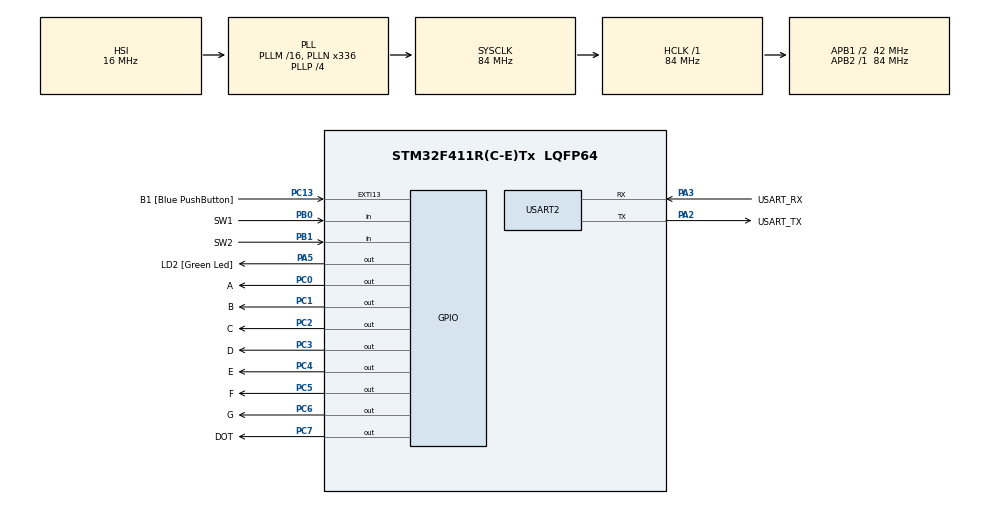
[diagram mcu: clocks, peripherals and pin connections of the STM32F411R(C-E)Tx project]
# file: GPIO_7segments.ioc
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Mcu.Family=STM32F4
Mcu.Name=STM32F411R(C-E)Tx
Mcu.Package=LQFP64
NVIC.PriorityGroup=NVIC_PRIORITYGROUP_0
PA13.GPIO_Label=TMS
PA13.Mode=Serial_Wire
PA13.Signal=SYS_JTMS-SWDIO
PA14.GPIO_Label=TCK
PA14.Mode=Serial_Wire
PA14.Signal=SYS_JTCK-SWCLK
PA2.GPIO_Label=USART_TX
PA2.Mode=Asynchronous
PA2.Signal=USART2_TX
PA3.GPIO_Label=USART_RX
PA3.Mode=Asynchronous
PA3.Signal=USART2_RX
PA5.GPIO_Label=LD2 [Green Led]
PA5.Signal=GPIO_Output
PB0.GPIO_Label=SW1
PB0.Signal=GPIO_Input
PB1.GPIO_Label=SW2
PB1.Signal=GPIO_Input
PB3.GPIO_Label=SWO
PB3.Signal=SYS_JTDO-SWO
PC0.GPIO_Label=A
PC0.Signal=GPIO_Output
PC1.GPIO_Label=B
PC1.Signal=GPIO_Output
PC13-ANTI_TAMP.GPIO_Label=B1 [Blue PushButton]
PC13-ANTI_TAMP.GPIO_ModeDefaultEXTI=GPIO_MODE_IT_FALLING
PC13-ANTI_TAMP.Signal=GPXTI13
PC14-OSC32_IN.Mode=LSE-External-Oscillator
PC14-OSC32_IN.Signal=RCC_OSC32_IN
PC15-OSC32_OUT.Mode=LSE-External-Oscillator
PC15-OSC32_OUT.Signal=RCC_OSC32_OUT
PC2.GPIO_Label=C
PC2.Signal=GPIO_Output
PC3.GPIO_Label=D
PC3.Signal=GPIO_Output
PC4.GPIO_Label=E
PC4.Signal=GPIO_Output
PC5.GPIO_Label=F
PC5.Signal=GPIO_Output
PC6.GPIO_Label=G
PC6.Signal=GPIO_Output
PC7.GPIO_Label=DOT
PC7.Signal=GPIO_Output
PH0\ -\ OSC_IN.Mode=HSE-External-Clock-Source
PH0\ -\ OSC_IN.Signal=RCC_OSC_IN
PH1\ -\ OSC_OUT.Mode=HSE-External-Clock-Source
PH1\ -\ OSC_OUT.Signal=RCC_OSC_OUT
ProjectManager.HeapSize=0x200
ProjectManager.StackSize=0x400
ProjectManager.TargetToolchain=STM32CubeIDE
RCC.48MHZClocksFreq_Value=84000000
RCC.AHBFreq_Value=84000000
RCC.APB1CLKDivider=RCC_HCLK_DIV2
RCC.APB1Freq_Value=42000000
RCC.APB1TimFreq_Value=84000000
RCC.APB2Freq_Value=84000000
RCC.APB2TimFreq_Value=84000000
RCC.CortexFreq_Value=84000000
RCC.FLatency-AdvancedSettings=FLASH_LATENCY_2
RCC.HCLKFreq_Value=84000000
RCC.HSE_VALUE=8000000
RCC.HSI_VALUE=16000000
RCC.PLLN=336
RCC.PLLP=RCC_PLLP_DIV4
RCC.SYSCLKFreq_VALUE=84000000
RCC.SYSCLKSource=RCC_SYSCLKSOURCE_PLLCLK
RCC.VCOOutputFreq_Value=336000000
USART2.VirtualMode=VM_ASYNC
board=NUCLEO-F411RE

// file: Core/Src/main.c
/* USER CODE BEGIN Header */
/**
  ******************************************************************************
  * @file           : main.c
  * @brief          : Main program body
  ******************************************************************************
  * @attention
  *
  * Copyright (c) 2025 STMicroelectronics.
  * All rights reserved.
  *
  * This software is licensed under terms that can be found in the LICENSE file
  * in the root directory of this software component.
  * If no LICENSE file comes with this software, it is provided AS-IS.
  *
  ******************************************************************************
  */
/* USER CODE END Header */
#include "main.h"

UART_HandleTypeDef huart2;

void SystemClock_Config(void);
static void MX_GPIO_Init(void);
static void MX_USART2_UART_Init(void);

int main(void)
{

  /* MCU Configuration--------------------------------------------------------*/

  /* Reset of all peripherals, Initializes the Flash interface and the Systick. */
  HAL_Init();

  /* Configure the system clock */
  SystemClock_Config();

  /* Initialize all configured peripherals */
  MX_GPIO_Init();
  MX_USART2_UART_Init();

  /* Infinite loop */
  /* USER CODE BEGIN WHILE */
  while (1)
  {
	  //0 Display
	  HAL_GPIO_WritePin(GPIOC, A_Pin | B_Pin | C_Pin | D_Pin | E_Pin | F_Pin | G_Pin | DOT_Pin, GPIO_PIN_RESET);
	  HAL_GPIO_WritePin(GPIOC, A_Pin | B_Pin | C_Pin | D_Pin | E_Pin | F_Pin, GPIO_PIN_SET);
	  HAL_Delay(1000);
	  //1 Display
	  HAL_GPIO_WritePin(GPIOC, A_Pin | B_Pin | C_Pin | D_Pin | E_Pin | F_Pin | G_Pin | DOT_Pin, GPIO_PIN_RESET);
	  HAL_GPIO_WritePin(GPIOC, B_Pin | C_Pin, GPIO_PIN_SET);
	  HAL_Delay(1000);
	  //2 Display
	  HAL_GPIO_WritePin(GPIOC, A_Pin | B_Pin | C_Pin | D_Pin | E_Pin | F_Pin | G_Pin | DOT_Pin, GPIO_PIN_RESET);
	  HAL_GPIO_WritePin(GPIOC, A_Pin | B_Pin | D_Pin | E_Pin | G_Pin, GPIO_PIN_SET);
	  HAL_Delay(1000);
	  //3 Display
	  HAL_GPIO_WritePin(GPIOC, A_Pin | B_Pin | C_Pin | D_Pin | E_Pin | F_Pin | G_Pin | DOT_Pin, GPIO_PIN_RESET);
	  HAL_GPIO_WritePin(GPIOC, A_Pin | B_Pin | C_Pin | D_Pin | G_Pin, GPIO_PIN_SET);
	  HAL_Delay(1000);
	  //4 Display
	  HAL_GPIO_WritePin(GPIOC, A_Pin | B_Pin | C_Pin | D_Pin | E_Pin | F_Pin | G_Pin | DOT_Pin, GPIO_PIN_RESET);
	  HAL_GPIO_WritePin(GPIOC, B_Pin | C_Pin | F_Pin | G_Pin, GPIO_PIN_SET);
	  HAL_Delay(1000);
	  //5 Display
	  HAL_GPIO_WritePin(GPIOC, A_Pin | B_Pin | C_Pin | D_Pin | E_Pin | F_Pin | G_Pin | DOT_Pin, GPIO_PIN_RESET);
	  HAL_GPIO_WritePin(GPIOC, A_Pin | C_Pin | D_Pin | F_Pin | G_Pin, GPIO_PIN_SET);
	  HAL_Delay(1000);
	  //6 Display
	  HAL_GPIO_WritePin(GPIOC, A_Pin | B_Pin | C_Pin | D_Pin | E_Pin | F_Pin | G_Pin | DOT_Pin, GPIO_PIN_RESET);
	  HAL_GPIO_WritePin(GPIOC, A_Pin | C_Pin | D_Pin | E_Pin | F_Pin | G_Pin, GPIO_PIN_SET);
	  HAL_Delay(1000);
	  //7 Display
	  HAL_GPIO_WritePin(GPIOC, A_Pin | B_Pin | C_Pin | D_Pin | E_Pin | F_Pin | G_Pin | DOT_Pin, GPIO_PIN_RESET);
	  HAL_GPIO_WritePin(GPIOC, A_Pin | B_Pin | C_Pin, GPIO_PIN_SET);
	  HAL_Delay(1000);
	  //8 Display
	  HAL_GPIO_WritePin(GPIOC, A_Pin | B_Pin | C_Pin | D_Pin | E_Pin | F_Pin | G_Pin | DOT_Pin, GPIO_PIN_RESET);
	  HAL_GPIO_WritePin(GPIOC, A_Pin | B_Pin | C_Pin | D_Pin | E_Pin | F_Pin | G_Pin, GPIO_PIN_SET);
	  HAL_Delay(1000);
	  //9 Display
	  HAL_GPIO_WritePin(GPIOC, A_Pin | B_Pin | C_Pin | D_Pin | E_Pin | F_Pin | G_Pin | DOT_Pin, GPIO_PIN_RESET);
	  HAL_GPIO_WritePin(GPIOC, A_Pin | B_Pin | C_Pin | F_Pin | G_Pin, GPIO_PIN_SET);
	  HAL_Delay(1000);
    /* USER CODE END WHILE */

  }
}

void SystemClock_Config(void)
{
  RCC_OscInitTypeDef RCC_OscInitStruct = {0};
  RCC_ClkInitTypeDef RCC_ClkInitStruct = {0};

  /** Configure the main internal regulator output voltage
  */
  __HAL_RCC_PWR_CLK_ENABLE();
  __HAL_PWR_VOLTAGESCALING_CONFIG(PWR_REGULATOR_VOLTAGE_SCALE1);

  /** Initializes the RCC Oscillators according to the specified parameters
  * in the RCC_OscInitTypeDef structure.
  */
  RCC_OscInitStruct.OscillatorType = RCC_OSCILLATORTYPE_HSI;
  RCC_OscInitStruct.HSIState = RCC_HSI_ON;
  RCC_OscInitStruct.HSICalibrationValue = RCC_HSICALIBRATION_DEFAULT;
  RCC_OscInitStruct.PLL.PLLState = RCC_PLL_ON;
  RCC_OscInitStruct.PLL.PLLSource = RCC_PLLSOURCE_HSI;
  RCC_OscInitStruct.PLL.PLLM = 16;
  RCC_OscInitStruct.PLL.PLLN = 336;
  RCC_OscInitStruct.PLL.PLLP = RCC_PLLP_DIV4;
  RCC_OscInitStruct.PLL.PLLQ = 4;
  if (HAL_RCC_OscConfig(&RCC_OscInitStruct) != HAL_OK)
  {
    Error_Handler();
  }

  /** Initializes the CPU, AHB and APB buses clocks
  */
  RCC_ClkInitStruct.ClockType = RCC_CLOCKTYPE_HCLK|RCC_CLOCKTYPE_SYSCLK
                              |RCC_CLOCKTYPE_PCLK1|RCC_CLOCKTYPE_PCLK2;
  RCC_ClkInitStruct.SYSCLKSource = RCC_SYSCLKSOURCE_PLLCLK;
  RCC_ClkInitStruct.AHBCLKDivider = RCC_SYSCLK_DIV1;
  RCC_ClkInitStruct.APB1CLKDivider = RCC_HCLK_DIV2;
  RCC_ClkInitStruct.APB2CLKDivider = RCC_HCLK_DIV1;

  if (HAL_RCC_ClockConfig(&RCC_ClkInitStruct, FLASH_LATENCY_2) != HAL_OK)
  {
    Error_Handler();
  }
}

static void MX_USART2_UART_Init(void)
{

  huart2.Instance = USART2;
  huart2.Init.BaudRate = 115200;
  huart2.Init.WordLength = UART_WORDLENGTH_8B;
  huart2.Init.StopBits = UART_STOPBITS_1;
  huart2.Init.Parity = UART_PARITY_NONE;
  huart2.Init.Mode = UART_MODE_TX_RX;
  huart2.Init.HwFlowCtl = UART_HWCONTROL_NONE;
  huart2.Init.OverSampling = UART_OVERSAMPLING_16;
  if (HAL_UART_Init(&huart2) != HAL_OK)
  {
    Error_Handler();
  }

}

static void MX_GPIO_Init(void)
{
  GPIO_InitTypeDef GPIO_InitStruct = {0};

  /* GPIO Ports Clock Enable */
  __HAL_RCC_GPIOC_CLK_ENABLE();
  __HAL_RCC_GPIOH_CLK_ENABLE();
  __HAL_RCC_GPIOA_CLK_ENABLE();
  __HAL_RCC_GPIOB_CLK_ENABLE();

  /*Configure GPIO pin Output Level */
  HAL_GPIO_WritePin(GPIOC, A_Pin|B_Pin|C_Pin|D_Pin
                          |E_Pin|F_Pin|G_Pin|DOT_Pin, GPIO_PIN_RESET);

  /*Configure GPIO pin Output Level */
  HAL_GPIO_WritePin(LD2_GPIO_Port, LD2_Pin, GPIO_PIN_RESET);

  /*Configure GPIO pin : B1_Pin */
  GPIO_InitStruct.Pin = B1_Pin;
  GPIO_InitStruct.Mode = GPIO_MODE_IT_FALLING;
  GPIO_InitStruct.Pull = GPIO_NOPULL;
  HAL_GPIO_Init(B1_GPIO_Port, &GPIO_InitStruct);

  /*Configure GPIO pins : A_Pin B_Pin C_Pin D_Pin
                           E_Pin F_Pin G_Pin DOT_Pin */
  GPIO_InitStruct.Pin = A_Pin|B_Pin|C_Pin|D_Pin
                          |E_Pin|F_Pin|G_Pin|DOT_Pin;
  GPIO_InitStruct.Mode = GPIO_MODE_OUTPUT_PP;
  GPIO_InitStruct.Pull = GPIO_NOPULL;
  GPIO_InitStruct.Speed = GPIO_SPEED_FREQ_LOW;
  HAL_GPIO_Init(GPIOC, &GPIO_InitStruct);

  /*Configure GPIO pin : LD2_Pin */
  GPIO_InitStruct.Pin = LD2_Pin;
  GPIO_InitStruct.Mode = GPIO_MODE_OUTPUT_PP;
  GPIO_InitStruct.Pull = GPIO_NOPULL;
  GPIO_InitStruct.Speed = GPIO_SPEED_FREQ_LOW;
  HAL_GPIO_Init(LD2_GPIO_Port, &GPIO_InitStruct);

  /*Configure GPIO pins : SW1_Pin SW2_Pin */
  GPIO_InitStruct.Pin = SW1_Pin|SW2_Pin;
  GPIO_InitStruct.Mode = GPIO_MODE_INPUT;
  GPIO_InitStruct.Pull = GPIO_NOPULL;
  HAL_GPIO_Init(GPIOB, &GPIO_InitStruct);

}

void Error_Handler(void)
{
  __disable_irq();
  while (1)
  {
  }
}
